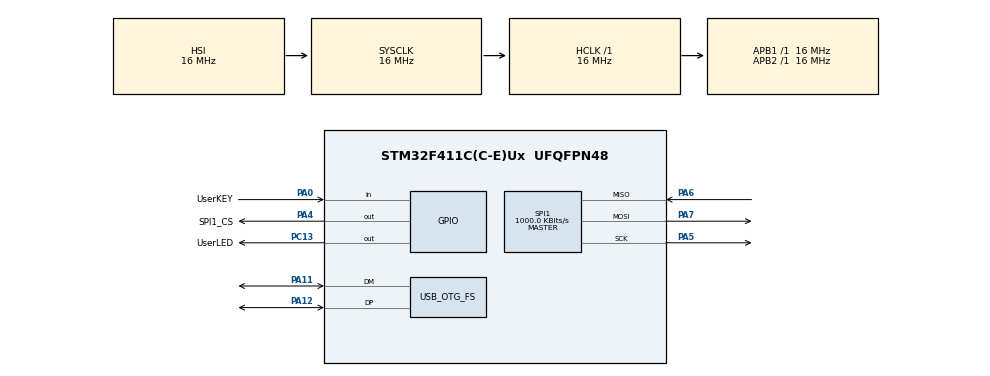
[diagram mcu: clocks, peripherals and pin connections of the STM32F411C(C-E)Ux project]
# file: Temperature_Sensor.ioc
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Mcu.Family=STM32F4
Mcu.Name=STM32F411C(C-E)Ux
Mcu.Package=UFQFPN48
NVIC.OTG_FS_IRQn=true\:0\:0\:false\:false\:true\:false\:true\:true
NVIC.PriorityGroup=NVIC_PRIORITYGROUP_4
NVIC.TIM2_IRQn=true\:0\:0\:false\:false\:true\:true\:true\:true
NVIC.TIM3_IRQn=true\:0\:0\:false\:false\:true\:true\:true\:true
PA0-WKUP.GPIO_Label=UserKEY
PA0-WKUP.GPIO_PuPd=GPIO_PULLUP
PA0-WKUP.Signal=GPIO_Input
PA11.Mode=Device_Only
PA11.Signal=USB_OTG_FS_DM
PA12.Mode=Device_Only
PA12.Signal=USB_OTG_FS_DP
PA13.Mode=Serial_Wire
PA13.Signal=SYS_JTMS-SWDIO
PA14.Mode=Serial_Wire
PA14.Signal=SYS_JTCK-SWCLK
PA4.GPIO_Label=SPI1_CS
PA4.PinState=GPIO_PIN_SET
PA4.Signal=GPIO_Output
PA5.Mode=Full_Duplex_Master
PA5.Signal=SPI1_SCK
PA6.Mode=Full_Duplex_Master
PA6.Signal=SPI1_MISO
PA7.Mode=Full_Duplex_Master
PA7.Signal=SPI1_MOSI
PC13-ANTI_TAMP.GPIO_Label=UserLED
PC13-ANTI_TAMP.PinState=GPIO_PIN_SET
PC13-ANTI_TAMP.Signal=GPIO_Output
PH0\ -\ OSC_IN.Mode=HSE-External-Oscillator
PH0\ -\ OSC_IN.Signal=RCC_OSC_IN
PH1\ -\ OSC_OUT.Mode=HSE-External-Oscillator
PH1\ -\ OSC_OUT.Signal=RCC_OSC_OUT
ProjectManager.HeapSize=0x200
ProjectManager.StackSize=0x400
ProjectManager.TargetToolchain=STM32CubeIDE
RCC.48MHZClocksFreq_Value=48000000
RCC.AHBFreq_Value=16000000
RCC.APB1Freq_Value=16000000
RCC.APB1TimFreq_Value=16000000
RCC.APB2Freq_Value=16000000
RCC.APB2TimFreq_Value=16000000
RCC.CortexFreq_Value=16000000
RCC.HCLKFreq_Value=16000000
RCC.HSE_VALUE=25000000
RCC.HSI_VALUE=16000000
RCC.LSE_VALUE=32768
RCC.PLLM=15
RCC.PLLN=144
RCC.PLLQ=5
RCC.SYSCLKFreq_VALUE=16000000
RCC.VCOOutputFreq_Value=240000000
SPI1.BaudRatePrescaler=SPI_BAUDRATEPRESCALER_16
SPI1.CLKPhase=SPI_PHASE_2EDGE
SPI1.CLKPolarity=SPI_POLARITY_LOW
SPI1.CalculateBaudRate=1000.0 KBits/s
SPI1.Direction=SPI_DIRECTION_2LINES
SPI1.Mode=SPI_MODE_MASTER
SPI1.VirtualType=VM_MASTER
TIM2.Period=999
TIM2.Prescaler=15999
TIM3.AutoReloadPreload=TIM_AUTORELOAD_PRELOAD_ENABLE
TIM3.Period=999
TIM3.Prescaler=1599
USB_DEVICE.APP_RX_DATA_SIZE=256
USB_DEVICE.APP_TX_DATA_SIZE=256
USB_DEVICE.CLASS_NAME_FS=CDC
USB_DEVICE.VirtualMode=Cdc
USB_DEVICE.VirtualModeFS=Cdc_FS
USB_OTG_FS.VirtualMode=Device_Only
VP_TIM2_VS_ClockSourceINT.Mode=Internal
VP_TIM3_VS_ClockSourceINT.Mode=Internal
VP_USB_DEVICE_VS_USB_DEVICE_CDC_FS.Mode=CDC_FS
board=custom

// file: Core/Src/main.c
/* USER CODE BEGIN Header */
/**
  ******************************************************************************
  * @file           : main.c
  * @brief          : Main program body
  ******************************************************************************
  * @attention
  *
  * Copyright (c) 2025 STMicroelectronics.
  * All rights reserved.
  *
  * This software is licensed under terms that can be found in the LICENSE file
  * in the root directory of this software component.
  * If no LICENSE file comes with this software, it is provided AS-IS.
  *
  ******************************************************************************
  */
/* USER CODE END Header */
#include "main.h"
#include "usb_device.h"

/* USER CODE BEGIN Includes */

#include "usbd_cdc_if.h"

/* USER CODE END Includes */

/* USER CODE BEGIN PD */

#define SPI_TIMEOUT 100

// PT100
#define REF_RESISTOR 430 // check by multimetr
#define NOMINAL_RESIST 100
#define RTD_SENS 0.385

/* USER CODE END PD */

SPI_HandleTypeDef hspi1;

TIM_HandleTypeDef htim2;
TIM_HandleTypeDef htim3;

/* USER CODE BEGIN PV */

volatile uint8_t timer_flag = 0;
uint32_t number_of_measurements = 0;

uint32_t btn_press_start = 0;
uint8_t led_mode_active = 0;

int32_t global_tenths = 0;
float current_temperature = 0.0f;

/* USER CODE END PV */

void SystemClock_Config(void);
static void MX_GPIO_Init(void);
static void MX_SPI1_Init(void);
static void MX_TIM2_Init(void);
static void MX_TIM3_Init(void);

/* USER CODE BEGIN 0 */

uint8_t MAX31865_Read (uint8_t address) {

	uint8_t tx = address;
	uint8_t rx = 0;

	HAL_GPIO_WritePin(SPI1_CS_GPIO_Port, SPI1_CS_Pin, GPIO_PIN_RESET);
	HAL_SPI_Transmit(&hspi1, &tx, 1, SPI_TIMEOUT);
	HAL_SPI_Receive(&hspi1, &rx, 1, SPI_TIMEOUT);
	HAL_GPIO_WritePin(SPI1_CS_GPIO_Port, SPI1_CS_Pin, GPIO_PIN_SET);

	return rx;
}

void MAX31865_Write (uint8_t address, uint8_t data) {

	uint8_t tx[2] = {address | 0x80, data};

	HAL_GPIO_WritePin(SPI1_CS_GPIO_Port, SPI1_CS_Pin, GPIO_PIN_RESET);
	HAL_SPI_Transmit(&hspi1, tx, 2, SPI_TIMEOUT);
	HAL_GPIO_WritePin(SPI1_CS_GPIO_Port, SPI1_CS_Pin, GPIO_PIN_SET);

}

void Update_LED_Frequency(int tenths_val) {

    if (tenths_val == 0) tenths_val = 10;

    uint32_t new_period = 10000 / (tenths_val * 2);

    TIM3->ARR = new_period;

    if (htim3.State != HAL_TIM_STATE_BUSY) {
    	TIM3->CNT = 0;
        HAL_TIM_Base_Start_IT(&htim3);
    }
}

void Handle_Button() {
    if (HAL_GPIO_ReadPin(UserKEY_GPIO_Port, UserKEY_Pin) == GPIO_PIN_RESET) {
        if (btn_press_start == 0) {
            btn_press_start = HAL_GetTick();
        }
    }
    else {
        if (btn_press_start != 0) {
            uint32_t duration = HAL_GetTick() - btn_press_start;
            btn_press_start = 0;
            if (duration >= 500 && duration <= 2000) { // without dead spot from 2000ms to 3000ms (change task)
                led_mode_active = 0;
                HAL_TIM_Base_Stop_IT(&htim3);
                HAL_GPIO_WritePin(UserLED_GPIO_Port, UserLED_Pin, GPIO_PIN_SET);
            }
            else if (duration > 2000 && duration <= 5000) {
                led_mode_active = 1;

                Update_LED_Frequency(global_tenths);
            }
        }
    }
}

/* USER CODE END 0 */

int main(void)
{

  /* USER CODE BEGIN 1 */

	char msg[64];

  /* USER CODE END 1 */

  /* MCU Configuration--------------------------------------------------------*/

  /* Reset of all peripherals, Initializes the Flash interface and the Systick. */
  HAL_Init();

  /* Configure the system clock */
  SystemClock_Config();

  /* Initialize all configured peripherals */
  MX_GPIO_Init();
  MX_SPI1_Init();
  MX_USB_DEVICE_Init();
  MX_TIM2_Init();
  MX_TIM3_Init();
  /* USER CODE BEGIN 2 */

  HAL_TIM_Base_Start_IT(&htim2);

  MAX31865_Write(0x00, 0xC1);
  HAL_Delay(2000); // wait for init MAX and USB_DEVICE

  sprintf(msg, "|          No |   Temp(C) |\r\n");
  CDC_Transmit_FS((uint8_t *)msg, strlen(msg));

  /* USER CODE END 2 */

  /* Infinite loop */
  /* USER CODE BEGIN WHILE */
  while (1)
  {

	  Handle_Button();

	  if (timer_flag) {
		  timer_flag = 0;
		  uint8_t msb = MAX31865_Read(0x01);
		  uint8_t lsb = MAX31865_Read(0x02);
		  uint16_t adc_value = ((msb << 8) | lsb) >> 1;

		  if (adc_value) {
			  number_of_measurements++;
			  float resist_measure = ((float)adc_value * REF_RESISTOR) / 0x7FFF;
			  current_temperature = (resist_measure - NOMINAL_RESIST) / RTD_SENS;

			  global_tenths = (int32_t)((current_temperature + 0.05f) * 10) % 10;
			  global_tenths = global_tenths < 0 ? -global_tenths : global_tenths;

			  sprintf(msg, "| %10lu. | %9.1f |\r\n", number_of_measurements, current_temperature);

			  if (led_mode_active) {
				  Update_LED_Frequency(global_tenths);
			  }
			  else {
				  HAL_TIM_Base_Stop_IT(&htim3);
				  HAL_GPIO_WritePin(UserLED_GPIO_Port, UserLED_Pin, GPIO_PIN_SET);
			  }
		  }
		  else sprintf(msg, "Error: POR State\r\n");

		  CDC_Transmit_FS((uint8_t *)msg, strlen(msg));
	  }

    /* USER CODE END WHILE */

  }
}

void SystemClock_Config(void)
{
  RCC_OscInitTypeDef RCC_OscInitStruct = {0};
  RCC_ClkInitTypeDef RCC_ClkInitStruct = {0};

  /** Configure the main internal regulator output voltage
  */
  __HAL_RCC_PWR_CLK_ENABLE();
  __HAL_PWR_VOLTAGESCALING_CONFIG(PWR_REGULATOR_VOLTAGE_SCALE1);

  /** Initializes the RCC Oscillators according to the specified parameters
  * in the RCC_OscInitTypeDef structure.
  */
  RCC_OscInitStruct.OscillatorType = RCC_OSCILLATORTYPE_HSI|RCC_OSCILLATORTYPE_HSE;
  RCC_OscInitStruct.HSEState = RCC_HSE_ON;
  RCC_OscInitStruct.HSIState = RCC_HSI_ON;
  RCC_OscInitStruct.HSICalibrationValue = RCC_HSICALIBRATION_DEFAULT;
  RCC_OscInitStruct.PLL.PLLState = RCC_PLL_ON;
  RCC_OscInitStruct.PLL.PLLSource = RCC_PLLSOURCE_HSE;
  RCC_OscInitStruct.PLL.PLLM = 15;
  RCC_OscInitStruct.PLL.PLLN = 144;
  RCC_OscInitStruct.PLL.PLLP = RCC_PLLP_DIV2;
  RCC_OscInitStruct.PLL.PLLQ = 5;
  if (HAL_RCC_OscConfig(&RCC_OscInitStruct) != HAL_OK)
  {
    Error_Handler();
  }

  /** Initializes the CPU, AHB and APB buses clocks
  */
  RCC_ClkInitStruct.ClockType = RCC_CLOCKTYPE_HCLK|RCC_CLOCKTYPE_SYSCLK
                              |RCC_CLOCKTYPE_PCLK1|RCC_CLOCKTYPE_PCLK2;
  RCC_ClkInitStruct.SYSCLKSource = RCC_SYSCLKSOURCE_HSI;
  RCC_ClkInitStruct.AHBCLKDivider = RCC_SYSCLK_DIV1;
  RCC_ClkInitStruct.APB1CLKDivider = RCC_HCLK_DIV1;
  RCC_ClkInitStruct.APB2CLKDivider = RCC_HCLK_DIV1;

  if (HAL_RCC_ClockConfig(&RCC_ClkInitStruct, FLASH_LATENCY_0) != HAL_OK)
  {
    Error_Handler();
  }
}

static void MX_SPI1_Init(void)
{

  /* SPI1 parameter configuration*/
  hspi1.Instance = SPI1;
  hspi1.Init.Mode = SPI_MODE_MASTER;
  hspi1.Init.Direction = SPI_DIRECTION_2LINES;
  hspi1.Init.DataSize = SPI_DATASIZE_8BIT;
  hspi1.Init.CLKPolarity = SPI_POLARITY_LOW;
  hspi1.Init.CLKPhase = SPI_PHASE_2EDGE;
  hspi1.Init.NSS = SPI_NSS_SOFT;
  hspi1.Init.BaudRatePrescaler = SPI_BAUDRATEPRESCALER_16;
  hspi1.Init.FirstBit = SPI_FIRSTBIT_MSB;
  hspi1.Init.TIMode = SPI_TIMODE_DISABLE;
  hspi1.Init.CRCCalculation = SPI_CRCCALCULATION_DISABLE;
  hspi1.Init.CRCPolynomial = 10;
  if (HAL_SPI_Init(&hspi1) != HAL_OK)
  {
    Error_Handler();
  }

}

static void MX_TIM2_Init(void)
{

  TIM_ClockConfigTypeDef sClockSourceConfig = {0};
  TIM_MasterConfigTypeDef sMasterConfig = {0};

  htim2.Instance = TIM2;
  htim2.Init.Prescaler = 15999;
  htim2.Init.CounterMode = TIM_COUNTERMODE_UP;
  htim2.Init.Period = 999;
  htim2.Init.ClockDivision = TIM_CLOCKDIVISION_DIV1;
  htim2.Init.AutoReloadPreload = TIM_AUTORELOAD_PRELOAD_DISABLE;
  if (HAL_TIM_Base_Init(&htim2) != HAL_OK)
  {
    Error_Handler();
  }
  sClockSourceConfig.ClockSource = TIM_CLOCKSOURCE_INTERNAL;
  if (HAL_TIM_ConfigClockSource(&htim2, &sClockSourceConfig) != HAL_OK)
  {
    Error_Handler();
  }
  sMasterConfig.MasterOutputTrigger = TIM_TRGO_RESET;
  sMasterConfig.MasterSlaveMode = TIM_MASTERSLAVEMODE_DISABLE;
  if (HAL_TIMEx_MasterConfigSynchronization(&htim2, &sMasterConfig) != HAL_OK)
  {
    Error_Handler();
  }

}

static void MX_TIM3_Init(void)
{

  TIM_ClockConfigTypeDef sClockSourceConfig = {0};
  TIM_MasterConfigTypeDef sMasterConfig = {0};

  htim3.Instance = TIM3;
  htim3.Init.Prescaler = 1599;
  htim3.Init.CounterMode = TIM_COUNTERMODE_UP;
  htim3.Init.Period = 999;
  htim3.Init.ClockDivision = TIM_CLOCKDIVISION_DIV1;
  htim3.Init.AutoReloadPreload = TIM_AUTORELOAD_PRELOAD_ENABLE;
  if (HAL_TIM_Base_Init(&htim3) != HAL_OK)
  {
    Error_Handler();
  }
  sClockSourceConfig.ClockSource = TIM_CLOCKSOURCE_INTERNAL;
  if (HAL_TIM_ConfigClockSource(&htim3, &sClockSourceConfig) != HAL_OK)
  {
    Error_Handler();
  }
  sMasterConfig.MasterOutputTrigger = TIM_TRGO_RESET;
  sMasterConfig.MasterSlaveMode = TIM_MASTERSLAVEMODE_DISABLE;
  if (HAL_TIMEx_MasterConfigSynchronization(&htim3, &sMasterConfig) != HAL_OK)
  {
    Error_Handler();
  }

}

static void MX_GPIO_Init(void)
{
  GPIO_InitTypeDef GPIO_InitStruct = {0};

  /* GPIO Ports Clock Enable */
  __HAL_RCC_GPIOC_CLK_ENABLE();
  __HAL_RCC_GPIOH_CLK_ENABLE();
  __HAL_RCC_GPIOA_CLK_ENABLE();

  /*Configure GPIO pin Output Level */
  HAL_GPIO_WritePin(UserLED_GPIO_Port, UserLED_Pin, GPIO_PIN_SET);

  /*Configure GPIO pin Output Level */
  HAL_GPIO_WritePin(SPI1_CS_GPIO_Port, SPI1_CS_Pin, GPIO_PIN_SET);

  /*Configure GPIO pin : UserLED_Pin */
  GPIO_InitStruct.Pin = UserLED_Pin;
  GPIO_InitStruct.Mode = GPIO_MODE_OUTPUT_PP;
  GPIO_InitStruct.Pull = GPIO_NOPULL;
  GPIO_InitStruct.Speed = GPIO_SPEED_FREQ_LOW;
  HAL_GPIO_Init(UserLED_GPIO_Port, &GPIO_InitStruct);

  /*Configure GPIO pin : UserKEY_Pin */
  GPIO_InitStruct.Pin = UserKEY_Pin;
  GPIO_InitStruct.Mode = GPIO_MODE_INPUT;
  GPIO_InitStruct.Pull = GPIO_PULLUP;
  HAL_GPIO_Init(UserKEY_GPIO_Port, &GPIO_InitStruct);

  /*Configure GPIO pin : SPI1_CS_Pin */
  GPIO_InitStruct.Pin = SPI1_CS_Pin;
  GPIO_InitStruct.Mode = GPIO_MODE_OUTPUT_PP;
  GPIO_InitStruct.Pull = GPIO_NOPULL;
  GPIO_InitStruct.Speed = GPIO_SPEED_FREQ_LOW;
  HAL_GPIO_Init(SPI1_CS_GPIO_Port, &GPIO_InitStruct);

}

/* USER CODE BEGIN 4 */

void HAL_TIM_PeriodElapsedCallback (TIM_HandleTypeDef *htim) {
	if (htim->Instance == TIM2) {
		timer_flag = 1;
	}

	if (htim->Instance == TIM3) {
		if (led_mode_active) {
			HAL_GPIO_TogglePin(UserLED_GPIO_Port, UserLED_Pin);
		}
	}
}

/* USER CODE END 4 */

void Error_Handler(void)
{
  __disable_irq();
  while (1)
  {
  }
}
